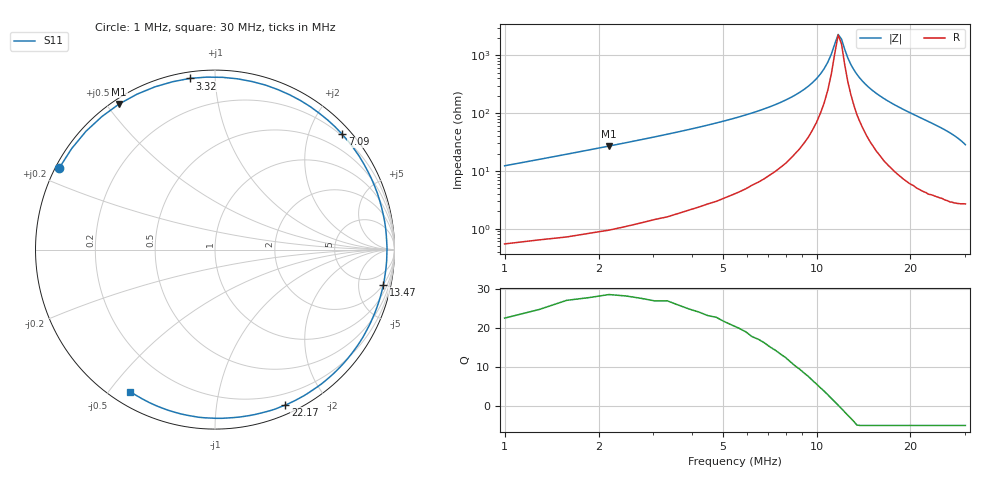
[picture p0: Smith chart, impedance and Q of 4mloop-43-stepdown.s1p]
! File created by NanoVNA MOD v3.0 by alex_m https://www.rtl-sdr.com/forum/viewtopic.php?f=4&t=4881
! Start 1000000Hz  Stop 30000000Hz  Points 101
# Hz S MA R 50
!S - Parameter data, F S11
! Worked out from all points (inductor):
!   101 points, 1 MHz to 30 MHz, reference 50 ohm
!   read as one part to ground: L = 1.93 uH near 1 MHz
!   highest Q = 28.2 at 2.16 MHz (marker M1), where L = 1.99 uH
!   self-resonance near 11.73 MHz
!   S11 on the Smith chart (normalised r, x): 1 MHz: 0.01, +0.25; 3.32 MHz: 0.03, +0.86; 7.09 MHz: 0.17, +2.58; 13.47 MHz: 1.89, -9.22; 22.17 MHz: 0.09, -1.55; 30 MHz: 0.05, -0.57
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1000000  0.9797 152.4
1580000  0.9754 137.5
2160000  0.9712 123.3
2740000  0.9666 110.3
3320000  0.964 98.3
3900000  0.9607 87.5
4770000  0.9589 72.9
5350000  0.9576 64.3
5930000  0.9572 56.3
6510000  0.9568 49.0
7090000  0.9566 42.2
8250000  0.9567 30.0
9120000  0.957 21.8
9990000  0.9574 14.2
1.086e7  0.958 7.1
1.202e7  0.9579 -1.7
1.347e7  0.9588 -11.9
1.55e7  0.9578 -25.2
1.724e7  0.9569 -35.9
1.927e7  0.9554 -48.2
2.072e7  0.9532 -56.9
2.217e7  0.9505 -65.7
2.275e7  0.9497 -69.2
2.478e7  0.9428 -81.9
2.652e7  0.9388 -93.4
2.826e7  0.9324 -106.2
2.913e7  0.9275 -113.3
3e7  0.9219 -120.8
